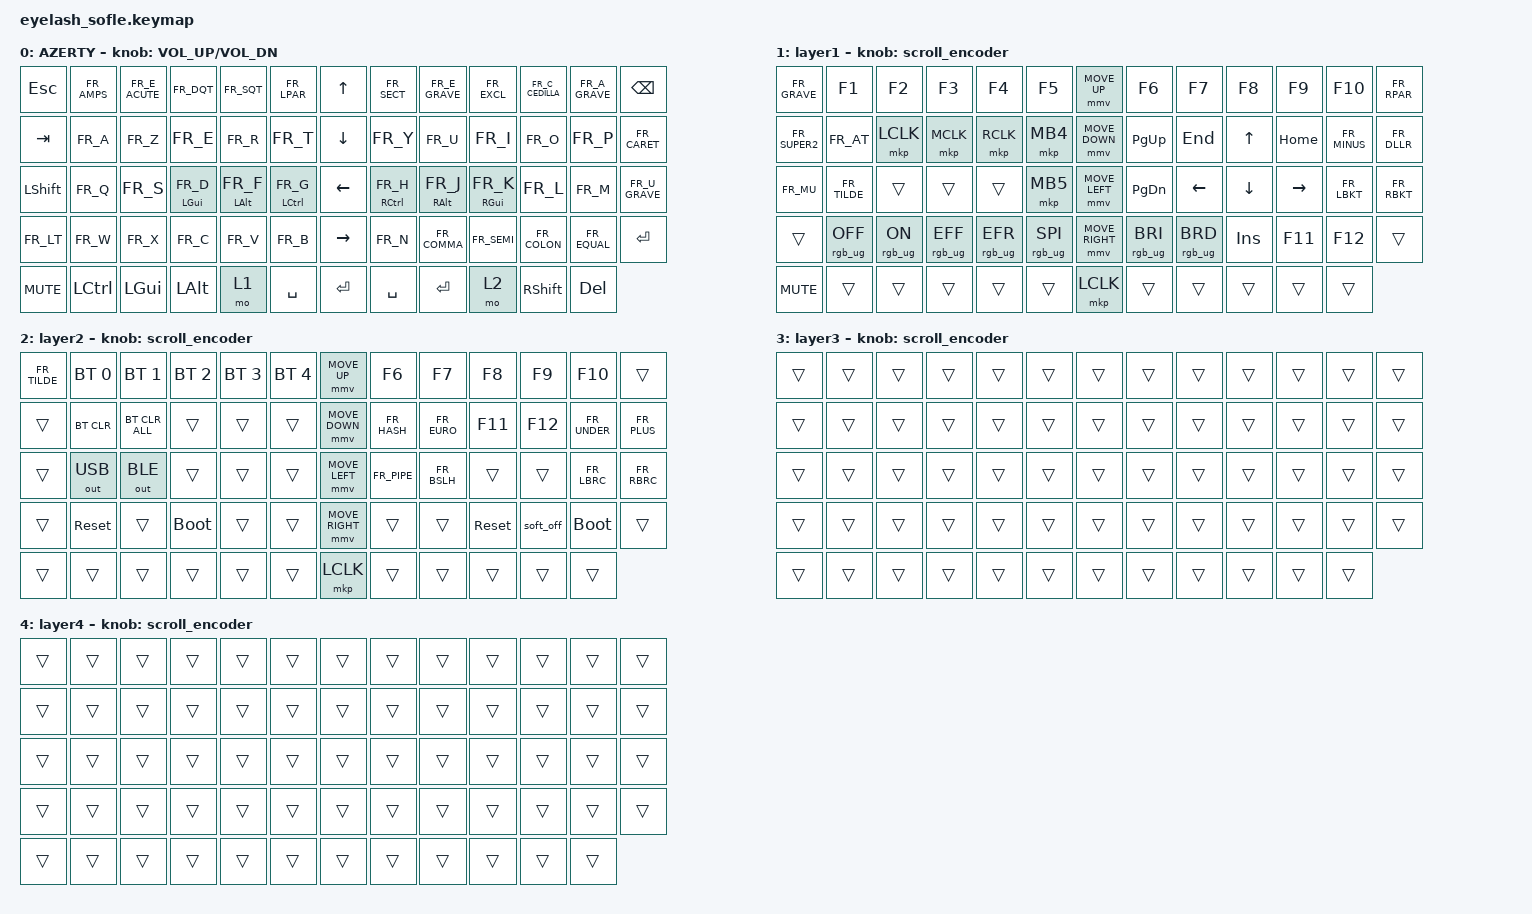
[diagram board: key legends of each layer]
/*
 * Eyelash Sofle — Belgian AZERTY (Français Belgique).
 *
 * The host OS keyboard layout must be "Belgian (French)" / "Français (Belgique)".
 * FR_* codes are the HID positions that layout expects, not US characters.
 * Shift on the symbol row types the Belgian digits: Shift+& = 1, Shift+é = 2, …
 * ^ and ¨ are dead keys, same as on a Belgian keyboard.
 */

#define ZMK_POINTING_DEFAULT_MOVE_VAL 1200  // 600
#define ZMK_POINTING_DEFAULT_SCRL_VAL 25   // 10

#include <input/processors.dtsi>
#include <zephyr/dt-bindings/input/input-event-codes.h>
#include <behaviors.dtsi>
#include <dt-bindings/zmk/bt.h>
#include <dt-bindings/zmk/keys.h>
#include <dt-bindings/zmk/outputs.h>
#include <dt-bindings/zmk/pointing.h>
#include <dt-bindings/zmk/rgb.h>
#include "keys_fr_belgian.h"

&mmv_input_listener { input-processors = <&zip_xy_scaler 2 1>; };

&msc_input_listener { input-processors = <&zip_scroll_scaler 2 1>; };

&msc {
    acceleration-exponent = <1>;      // 0
    time-to-max-speed-ms = <100>;       // 300
    delay-ms = <0>;                   // 0
};

&mmv {
    time-to-max-speed-ms = <500>;
    acceleration-exponent = <1>;
    trigger-period-ms = <16>;
};

&soft_off { hold-time-ms = <2000>; };

/ {
    scroll_encoder: scroll_encoder {
        compatible = "zmk,behavior-sensor-rotate";
        #sensor-binding-cells = <0>;
        bindings = <&msc SCRL_DOWN>, <&msc SCRL_UP>;

        tap-ms = <100>;
    };

    behaviors {
    };

    combos {
        compatible = "zmk,combos";

        softoff {
            bindings = <&soft_off>;
            key-positions = <14 28 40>;
        };
    };

    macros {
        SHIFT_MCLK: SHIFT_MCLK {
            compatible = "zmk,behavior-macro";
            #binding-cells = <0>;
            bindings =
                <&macro_press>,
                <&kp LEFT_SHIFT>,
                <&macro_press>,
                <&mkp MB3>,
                <&macro_pause_for_release>,
                <&macro_release>,
                <&kp LEFT_SHIFT &mkp MB3>;

            label = "SHIFT_MCLK";
        };
    };

    keymap {
        compatible = "zmk,keymap";

        /*
         * Base — Belgian AZERTY. Inner column stays arrows.
         * Home-row mods: hold GUI/ALT/CTRL, tap the letter.
         * Keys that do not fit (&) - $ µ ²) live on layer 1.
         * Bottom-left outer key is < (Shift+< = >), not a second Shift.
         */
        layer0 {
            bindings = <
&kp ESC     &kp FR_AMPS  &kp FR_E_ACUTE  &kp FR_DQT     &kp FR_SQT      &kp FR_LPAR           &kp UP_ARROW     &kp FR_SECT     &kp FR_E_GRAVE  &kp FR_EXCL     &kp FR_C_CEDILLA  &kp FR_A_GRAVE  &kp BSPC
&kp TAB     &kp FR_A     &kp FR_Z        &kp FR_E       &kp FR_R        &kp FR_T              &kp DOWN_ARROW   &kp FR_Y        &kp FR_U        &kp FR_I        &kp FR_O          &kp FR_P        &kp FR_CARET
&kp LSHFT   &kp FR_Q     &kp FR_S        &mt LGUI FR_D  &mt LALT FR_F   &mt LCTRL FR_G        &kp LEFT_ARROW   &mt RCTRL FR_H  &mt RALT FR_J   &mt RGUI FR_K   &kp FR_L          &kp FR_M        &kp FR_U_GRAVE
&kp FR_LT   &kp FR_W     &kp FR_X        &kp FR_C       &kp FR_V        &kp FR_B              &kp RIGHT_ARROW  &kp FR_N        &kp FR_COMMA    &kp FR_SEMI     &kp FR_COLON      &kp FR_EQUAL    &kp ENTER
&kp C_MUTE  &kp LCTRL    &kp LGUI        &kp LALT       &mo 1           &kp SPACE             &kp ENTER        &kp SPACE       &kp ENTER       &mo 2           &kp RSHIFT        &kp DEL
            >;

            sensor-bindings = <&inc_dec_kp C_VOLUME_UP C_VOL_DN>;
            display-name = "AZERTY";
        };

        /*
         * Layer 1 — F-keys, mouse, nav, and Belgian keys missing from the base.
         * ) - $ are on the right half so the left thumb can hold this layer.
         * Shift still works: -/_  $/*  </ > is on the base layer.
         */
        layer_1 {
            bindings = <
&kp FR_GRAVE   &kp F1           &kp F2          &kp F3           &kp F4           &kp F5             &mmv MOVE_UP     &kp F6           &kp F7           &kp F8      &kp F9     &kp F10       &kp FR_RPAR
&kp FR_SUPER2  &kp FR_AT        &mkp LCLK       &mkp MCLK        &mkp RCLK        &mkp MB4           &mmv MOVE_DOWN   &kp PG_UP        &kp END          &kp UP      &kp HOME   &kp FR_MINUS  &kp FR_DLLR
&kp FR_MU      &kp FR_TILDE     &trans          &trans           &trans           &mkp MB5           &mmv MOVE_LEFT   &kp PG_DN        &kp LEFT         &kp DOWN    &kp RIGHT  &kp FR_LBKT   &kp FR_RBKT
&trans         &rgb_ug RGB_OFF  &rgb_ug RGB_ON  &rgb_ug RGB_EFF  &rgb_ug RGB_EFR  &rgb_ug RGB_SPI    &mmv MOVE_RIGHT  &rgb_ug RGB_BRI  &rgb_ug RGB_BRD  &kp INSERT  &kp F11    &kp F12       &trans
&kp C_MUTE     &trans           &trans          &trans           &trans           &trans             &mkp LCLK        &trans           &trans           &trans      &trans     &trans
            >;

            display-name = "layer1";
            sensor-bindings = <&scroll_encoder>;
        };

        layer_2 {
            bindings = <
&kp FR_TILDE  &bt BT_SEL 0  &bt BT_SEL 1    &bt BT_SEL 2  &bt BT_SEL 3  &bt BT_SEL 4    &mmv MOVE_UP     &kp F6       &kp F7       &kp F8       &kp F9     &kp F10       &trans
&trans        &bt BT_CLR    &bt BT_CLR_ALL  &trans        &trans        &trans          &mmv MOVE_DOWN   &kp FR_HASH  &kp FR_EURO  &kp F11      &kp F12    &kp FR_UNDER  &kp FR_PLUS
&trans        &out OUT_USB  &out OUT_BLE    &trans        &trans        &trans          &mmv MOVE_LEFT   &kp FR_PIPE  &kp FR_BSLH  &trans       &trans     &kp FR_LBRC   &kp FR_RBRC
&trans        &sys_reset    &trans          &bootloader   &trans        &trans          &mmv MOVE_RIGHT  &trans       &trans       &sys_reset   &soft_off  &bootloader   &trans
&trans        &trans        &trans          &trans        &trans        &trans          &mkp LCLK        &trans       &trans       &trans       &trans     &trans
            >;

            display-name = "layer2";
            sensor-bindings = <&scroll_encoder>;
        };

        layer_3 {
            bindings = <
&trans  &trans  &trans  &trans  &trans  &trans    &trans  &trans  &trans  &trans  &trans  &trans  &trans
&trans  &trans  &trans  &trans  &trans  &trans    &trans  &trans  &trans  &trans  &trans  &trans  &trans
&trans  &trans  &trans  &trans  &trans  &trans    &trans  &trans  &trans  &trans  &trans  &trans  &trans
&trans  &trans  &trans  &trans  &trans  &trans    &trans  &trans  &trans  &trans  &trans  &trans  &trans
&trans  &trans  &trans  &trans  &trans  &trans    &trans  &trans  &trans  &trans  &trans  &trans
            >;

            display-name = "layer3";
            sensor-bindings = <&scroll_encoder>;
        };

        layer_4 {
            bindings = <
&trans  &trans  &trans  &trans  &trans  &trans    &trans  &trans  &trans  &trans  &trans  &trans  &trans
&trans  &trans  &trans  &trans  &trans  &trans    &trans  &trans  &trans  &trans  &trans  &trans  &trans
&trans  &trans  &trans  &trans  &trans  &trans    &trans  &trans  &trans  &trans  &trans  &trans  &trans
&trans  &trans  &trans  &trans  &trans  &trans    &trans  &trans  &trans  &trans  &trans  &trans  &trans
&trans  &trans  &trans  &trans  &trans  &trans    &trans  &trans  &trans  &trans  &trans  &trans
            >;

            display-name = "layer4";
            sensor-bindings = <&scroll_encoder>;
        };
    };
};
